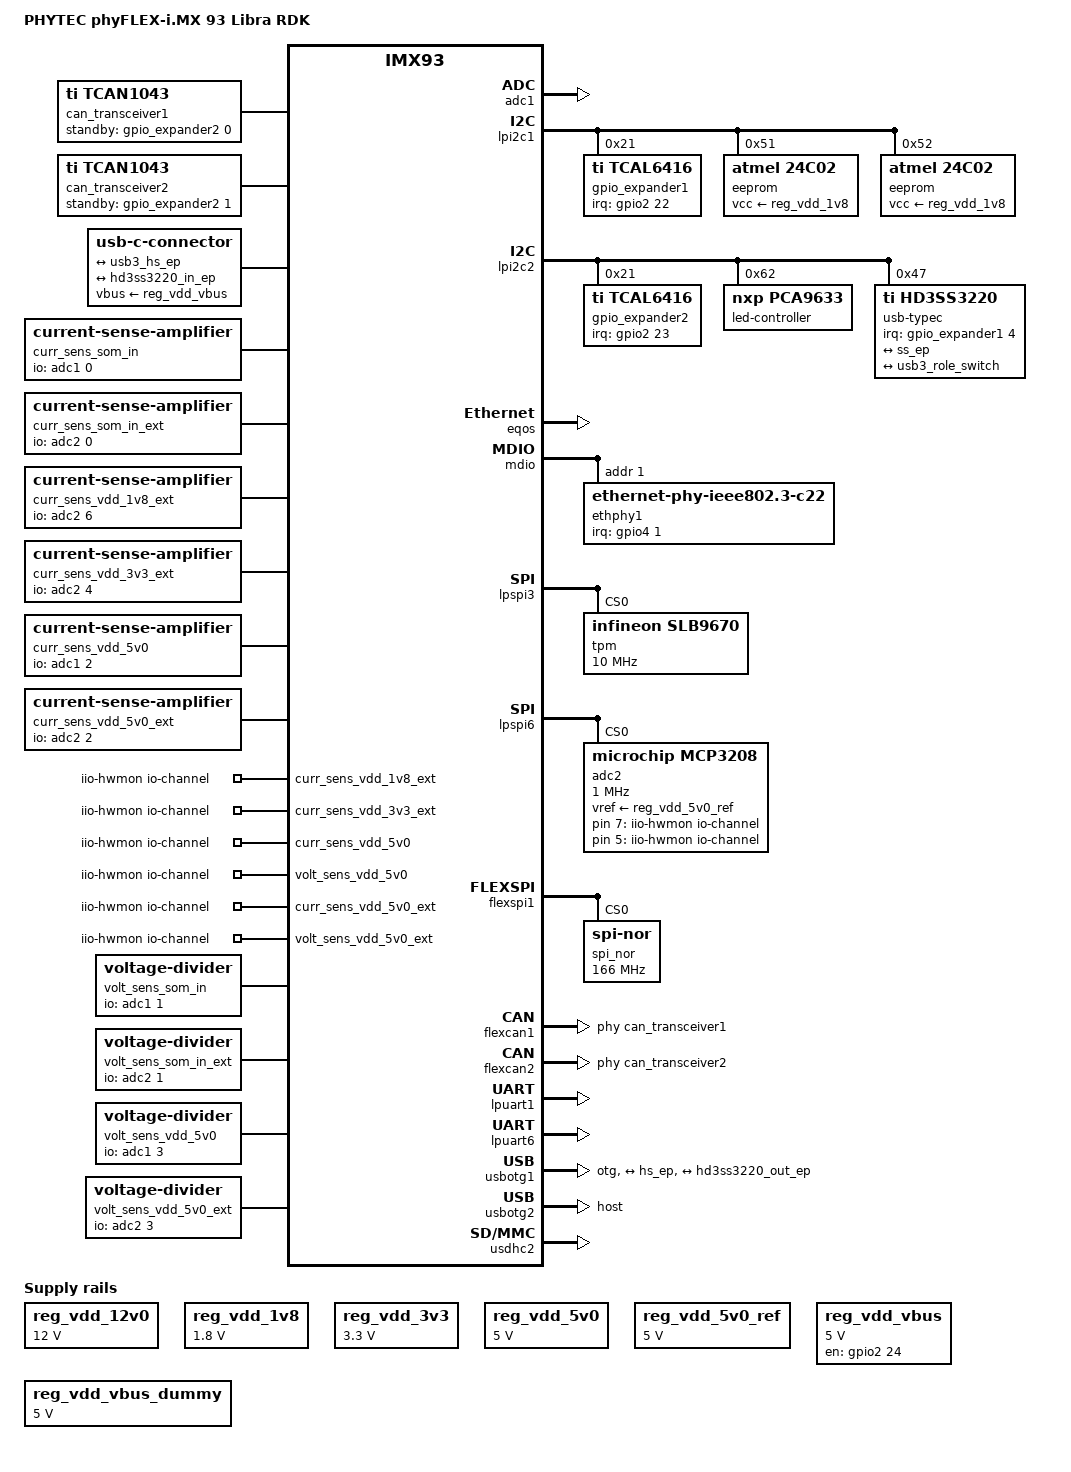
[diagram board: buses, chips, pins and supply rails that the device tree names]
// SPDX-License-Identifier: (GPL-2.0+ OR MIT)
/*
 * Copyright (C) 2025 PHYTEC Messtechnik GmbH
 * Author: Christoph Stoidner <c.stoidner@phytec.de>
 *
 * Product homepage:
 * https://www.phytec.eu/en/produkte/development-kits/phyflex-imx-93-kit/
 */

/dts-v1/;

#include <dt-bindings/net/ti-dp83867.h>
#include "imx93-phyflex-fpsc-g-som.dtsi"

/ {
	model = "PHYTEC phyFLEX-i.MX 93 Libra RDK";
	compatible = "phytec,imx93-phyflex-libra-rdk", "phytec,imx93-phyflex-fpsc-g",
		     "fsl,imx93";

	aliases {
		mmc0 = &usdhc1;
		mmc1 = &usdhc2;
		rtc0 = &i2c_rtc;
		rtc1 = &bbnsm_rtc;
	};

	chosen {
		stdout-path = &lpuart1;
	};

	backlight: backlight {
		compatible = "pwm-backlight";
		power-supply = <&reg_vdd_12v0>;
		brightness-levels = <0 8 16 32 64 128 255>;
		default-brightness-level = <8>;
		num-interpolated-steps = <2>;
		pwms = <&tpm3 3 66667 0>;
		status = "disabled";
	};

	can_transceiver1: can-phy1 {
		compatible = "ti,tcan1043";
		#phy-cells = <0>;
		max-bitrate = <8000000>;
		standby-gpios = <&gpio_expander2 0 GPIO_ACTIVE_HIGH>;
	};

	can_transceiver2: can-phy2 {
		compatible = "ti,tcan1043";
		#phy-cells = <0>;
		max-bitrate = <8000000>;
		standby-gpios = <&gpio_expander2 1 GPIO_ACTIVE_HIGH>;
	};

	connector {
		compatible = "usb-c-connector";
		label = "USB-C";
		data-role = "dual";
		pd-disable;
		self-powered;
		vbus-supply = <&reg_vdd_vbus>;

		ports {
			#address-cells = <1>;
			#size-cells = <0>;

			port@0 {
				reg = <0>;

				hs_ep: endpoint {
					remote-endpoint = <&usb3_hs_ep>;
				};
			};

			port@1 {
				reg = <1>;

				ss_ep: endpoint {
					remote-endpoint = <&hd3ss3220_in_ep>;
				};
			};
		};
	};

	curr_sens_som_in: current-sense-som-in {
		compatible = "current-sense-amplifier";
		#io-channel-cells = <0>;
		io-channels = <&adc1 0>;
		sense-gain-div = <3>;
		sense-gain-mult = <100>;
		sense-resistor-micro-ohms = <4000>;
	};

	curr_sens_som_in_ext: current-sense-som-in-ext {
		compatible = "current-sense-amplifier";
		#io-channel-cells = <0>;
		io-channels = <&adc2 0>;
		sense-gain-div = <15>;
		sense-gain-mult = <1400>;
		sense-resistor-micro-ohms = <4000>;
	};

	curr_sens_vdd_1v8_ext: current-sense-vdd-1v8-ext {
		compatible = "current-sense-amplifier";
		#io-channel-cells = <0>;
		io-channels = <&adc2 6>;
		sense-gain-mult = <100>;
		sense-resistor-micro-ohms = <4000>;
	};

	curr_sens_vdd_3v3_ext: current-sense-vdd-3v3-ext {
		compatible = "current-sense-amplifier";
		#io-channel-cells = <0>;
		io-channels = <&adc2 4>;
		sense-gain-mult = <100>;
		sense-resistor-micro-ohms = <4000>;
	};

	curr_sens_vdd_5v0: current-sense-vdd-5v0 {
		compatible = "current-sense-amplifier";
		#io-channel-cells = <0>;
		io-channels = <&adc1 2>;
		sense-gain-div = <3>;
		sense-gain-mult = <100>;
		sense-resistor-micro-ohms = <4000>;
	};

	curr_sens_vdd_5v0_ext: current-sense-vdd-5v0-ext {
		compatible = "current-sense-amplifier";
		#io-channel-cells = <0>;
		io-channels = <&adc2 2>;
		sense-gain-div = <15>;
		sense-gain-mult = <1400>;
		sense-resistor-micro-ohms = <4000>;
	};

	iio-hwmon {
		compatible = "iio-hwmon";
		io-channels = <&curr_sens_vdd_1v8_ext>, <&adc2 7>,
				<&curr_sens_vdd_3v3_ext>, <&adc2 5>,
				<&curr_sens_vdd_5v0>, <&volt_sens_vdd_5v0>,
				<&curr_sens_vdd_5v0_ext>, <&volt_sens_vdd_5v0_ext>,
				<&curr_sens_som_in>, <&volt_sens_som_in>,
				<&curr_sens_som_in_ext>, <&volt_sens_som_in_ext>;
	};

	panel_lvds1: panel-lvds0 {
		backlight = <&backlight>;
		enable-gpios = <&gpio_expander2 9 GPIO_ACTIVE_HIGH>;
		power-supply = <&reg_vdd_3v3>;
		status = "disabled";
	};

	reg_vdd_12v0: regulator-vdd-12v0 {
		compatible = "regulator-fixed";
		regulator-always-on;
		regulator-boot-on;
		regulator-max-microvolt = <12000000>;
		regulator-min-microvolt = <12000000>;
		regulator-name = "VDD_12V0_LIBRA";
	};

	reg_vdd_1v8: regulator-vdd-1v8 {
		compatible = "regulator-fixed";
		regulator-always-on;
		regulator-boot-on;
		regulator-min-microvolt = <1800000>;
		regulator-max-microvolt = <1800000>;
		regulator-name = "VDD_1V8_LIBRA";
	};

	reg_vdd_3v3: regulator-vdd-3v3 {
		compatible = "regulator-fixed";
		regulator-always-on;
		regulator-boot-on;
		regulator-min-microvolt = <3300000>;
		regulator-max-microvolt = <3300000>;
		regulator-name = "VDD_3V3_LIBRA";
	};

	reg_vdd_5v0: regulator-vdd-5v0 {
		compatible = "regulator-fixed";
		regulator-always-on;
		regulator-boot-on;
		regulator-max-microvolt = <5000000>;
		regulator-min-microvolt = <5000000>;
		regulator-name = "VDD_5V0_LIBRA";
	};

	reg_vdd_5v0_ref: regulator-vdd-5v0-ref {
		compatible = "regulator-fixed";
		regulator-always-on;
		regulator-boot-on;
		regulator-max-microvolt = <5000000>;
		regulator-min-microvolt = <5000000>;
		regulator-name = "VDD_5V0_REF_LIBRA";
	};

	reg_vdd_vbus: regulator-vdd-vbus {
		compatible = "regulator-fixed";
		enable-active-high;
		gpio = <&gpio2 24 GPIO_ACTIVE_HIGH>;
		regulator-name = "VDD_VBUS_C";
		regulator-min-microvolt = <5000000>;
		regulator-max-microvolt = <5000000>;
	};

	reg_vdd_vbus_dummy: regulator-vdd-vbus-dummy {
		compatible = "regulator-fixed";
		regulator-name = "VDD_VBUS_C_DUMMY";
		regulator-min-microvolt = <5000000>;
		regulator-max-microvolt = <5000000>;
		regulator-always-on;
	};

	volt_sens_som_in: voltage-sense-som-in {
		compatible = "voltage-divider";
		#io-channel-cells = <0>;
		io-channels = <&adc1 1>;
		output-ohms = <100>;
		full-ohms = <346>;
	};

	volt_sens_som_in_ext: voltage-sense-som-in-ext {
		compatible = "voltage-divider";
		#io-channel-cells = <0>;
		io-channels = <&adc2 1>;
		output-ohms = <280>;
		full-ohms = <346>;
	};

	volt_sens_vdd_5v0: voltage-sense-vdd-5v0 {
		compatible = "voltage-divider";
		#io-channel-cells = <0>;
		io-channels = <&adc1 3>;
		output-ohms = <100>;
		full-ohms = <346>;
	};

	volt_sens_vdd_5v0_ext: voltage-sense-vdd-5v0-ext {
		compatible = "voltage-divider";
		#io-channel-cells = <0>;
		io-channels = <&adc2 3>;
		output-ohms = <280>;
		full-ohms = <346>;
	};
};

/* ADC */
&adc1 {
	status = "okay";
};

/* FPSC I2C2 */
&lpi2c1 {
	status = "okay";

	gpio_expander1: gpio@21 {
		compatible = "ti,tcal6416";
		reg = <0x21>;
		interrupt-controller;
		interrupt-parent = <&gpio2>;
		interrupts = <22 IRQ_TYPE_LEVEL_LOW>;
		#interrupt-cells = <2>;
		#gpio-cells = <2>;
		gpio-controller;
		gpio-line-names = "VCONN_nFAULT", "CSI1_CTRL1", "CSI1_CTRL3",
				  "CSI1_CTRL4", "USB-C_nINT/AUDIO_AC",
				  "CSI2_CTRL1", "CSI2_CTRL3", "CSI2_CTRL4",
				  "CLK_EN_AV", "W_nDISABLE1", "W_nDISABLE2",
				  "PCIE1_nWAKE", "PCIE2_nWAKE", "UART1_nWAKE",
				  "UART1_BT_RS_SEL", "UART1_RS232_485_SEL";
	};

	/* Factory EEPROM */
	eeprom@51 {
		compatible = "atmel,24c02";
		reg = <0x51>;
		pagesize = <16>;
		vcc-supply = <&reg_vdd_1v8>;
	};

	/* User EEPROM */
	eeprom@52 {
		compatible = "atmel,24c02";
		reg = <0x52>;
		pagesize = <16>;
		vcc-supply = <&reg_vdd_1v8>;
	};

};

/* FPSC I2C3 */
&lpi2c2 {
	status = "okay";

	gpio_expander2: gpio@21 {
		compatible = "ti,tcal6416";
		reg = <0x21>;
		interrupt-controller;
		interrupt-parent = <&gpio2>;
		interrupts = <23 IRQ_TYPE_LEVEL_LOW>;
		#interrupt-cells = <2>;
		#gpio-cells = <2>;
		gpio-controller;
		gpio-line-names = "CAN1_STBY", "CAN2_STBY", "CAN3_STBY",
				  "KEY-E_nALERT", "KEY-M_nALERT",
				  "SDIO_nWAKE", "SDIO_nRESET", "HDMI_EN",
				  "RTC_nINT", "LVDS1_BL_EN", "SFP_TX_FAULT",
				  "SFP_TX_DISABLE", "SFP_MOD_ABS", "SFP_RS0",
				  "SFP_RX_LOSS", "SFP_RS1";
	};

	led-controller@62 {
		compatible = "nxp,pca9633";
		reg = <0x62>;
		#address-cells = <1>;
		#size-cells = <0>;

		led@0 {
			reg = <0>;
			color = <LED_COLOR_ID_RED>;
			function = LED_FUNCTION_STATUS;
		};

		led@1 {
			reg = <1>;
			color = <LED_COLOR_ID_GREEN>;
			function = LED_FUNCTION_STATUS;
		};

		led@2 {
			reg = <2>;
			color = <LED_COLOR_ID_BLUE>;
			function = LED_FUNCTION_STATUS;
		};
	};

	usb-typec@47 {
		compatible = "ti,hd3ss3220";
		reg = <0x47>;
		interrupt-parent = <&gpio_expander1>;
		interrupts = <4 IRQ_TYPE_LEVEL_LOW>;
		ports {
			#address-cells = <1>;
			#size-cells = <0>;

			port@0 {
				reg = <0>;
				hd3ss3220_in_ep: endpoint {
					remote-endpoint = <&ss_ep>;
				};
			};

			port@1 {
				reg = <1>;
				hd3ss3220_out_ep: endpoint {
					remote-endpoint = <&usb3_role_switch>;
				};
			};
		};
	};
};

/* FPSC ENET2 */
&eqos {
	status = "okay";
};

&mdio {
	ethphy1: ethernet-phy@1 {
		compatible = "ethernet-phy-ieee802.3-c22";
		reg = <1>;
		interrupt-parent = <&gpio4>;
		interrupts = <1 IRQ_TYPE_LEVEL_LOW>;
		ti,clk-output-sel = <DP83867_CLK_O_SEL_OFF>;
		ti,fifo-depth = <DP83867_PHYCR_FIFO_DEPTH_4_B_NIB>;
		ti,rx-internal-delay = <DP83867_RGMIIDCTL_1_75_NS>;
		ti,tx-internal-delay = <DP83867_RGMIIDCTL_1_75_NS>;
	};
};

/* RTC */
&i2c_rtc {
	interrupt-parent = <&gpio_expander2>;
	interrupts = <8 IRQ_TYPE_LEVEL_LOW>;
	aux-voltage-chargeable = <1>;
	wakeup-source;
};

/* FPSC SPI2 */
&lpspi3 {
	status = "okay";

	/* TPM */
	tpm@0 {
		compatible = "infineon,slb9670", "tcg,tpm_tis-spi";
		reg = <0>;
		spi-max-frequency = <10000000>;
	};
};

/* FPSC SPI1 */
&lpspi6 {
	status = "okay";

	/* ADC */
	adc2: adc2@0 {
		compatible = "microchip,mcp3208";
		reg = <0>;
		spi-max-frequency = <1000000>;
		vref-supply = <&reg_vdd_5v0_ref>;
		#io-channel-cells = <1>;
	};
};

/* FPSC QSPI */
&flexspi1 {
	status = "okay";

	spi_nor: flash@0 {
		compatible = "jedec,spi-nor";
		reg = <0>;
		spi-max-frequency = <166000000>;
		spi-rx-bus-width = <4>;
		spi-tx-bus-width = <4>;
	};
};

/* FPSC CAN1 */
&flexcan1 {
	phys = <&can_transceiver1>;
	status = "okay";
};

/* FPSC CAN2 */
&flexcan2 {
	phys = <&can_transceiver2>;
	status = "okay";
};

/* Console */
&lpuart1 {
	status = "okay";
};

/* FPSC UART1 */
&lpuart6 {
	status = "okay";
};

/* USB */
&usbphynop1 {
	vbus-supply = <&reg_vdd_vbus_dummy>;
};

&usbphynop2 {
	vbus-supply = <&reg_vdd_5v0>;
};

&usbotg1 {
	adp-disable;
	disable-over-current;
	dr_mode = "otg";
	hnp-disable;
	srp-disable;
	usb-role-switch;
	status = "okay";

	ports {
		#address-cells = <1>;
		#size-cells = <0>;

		port@0 {
			reg = <0>;
			usb3_hs_ep: endpoint {
				remote-endpoint = <&hs_ep>;
			};
		};

		port@1 {
			reg = <1>;
			usb3_role_switch: endpoint {
				remote-endpoint = <&hd3ss3220_out_ep>;
			};
		};
	};
};

&usbotg2 {
	disable-over-current;
	dr_mode = "host";
	status = "okay";
};

/* SD-Card */
&usdhc2 {
	status = "okay";
};
